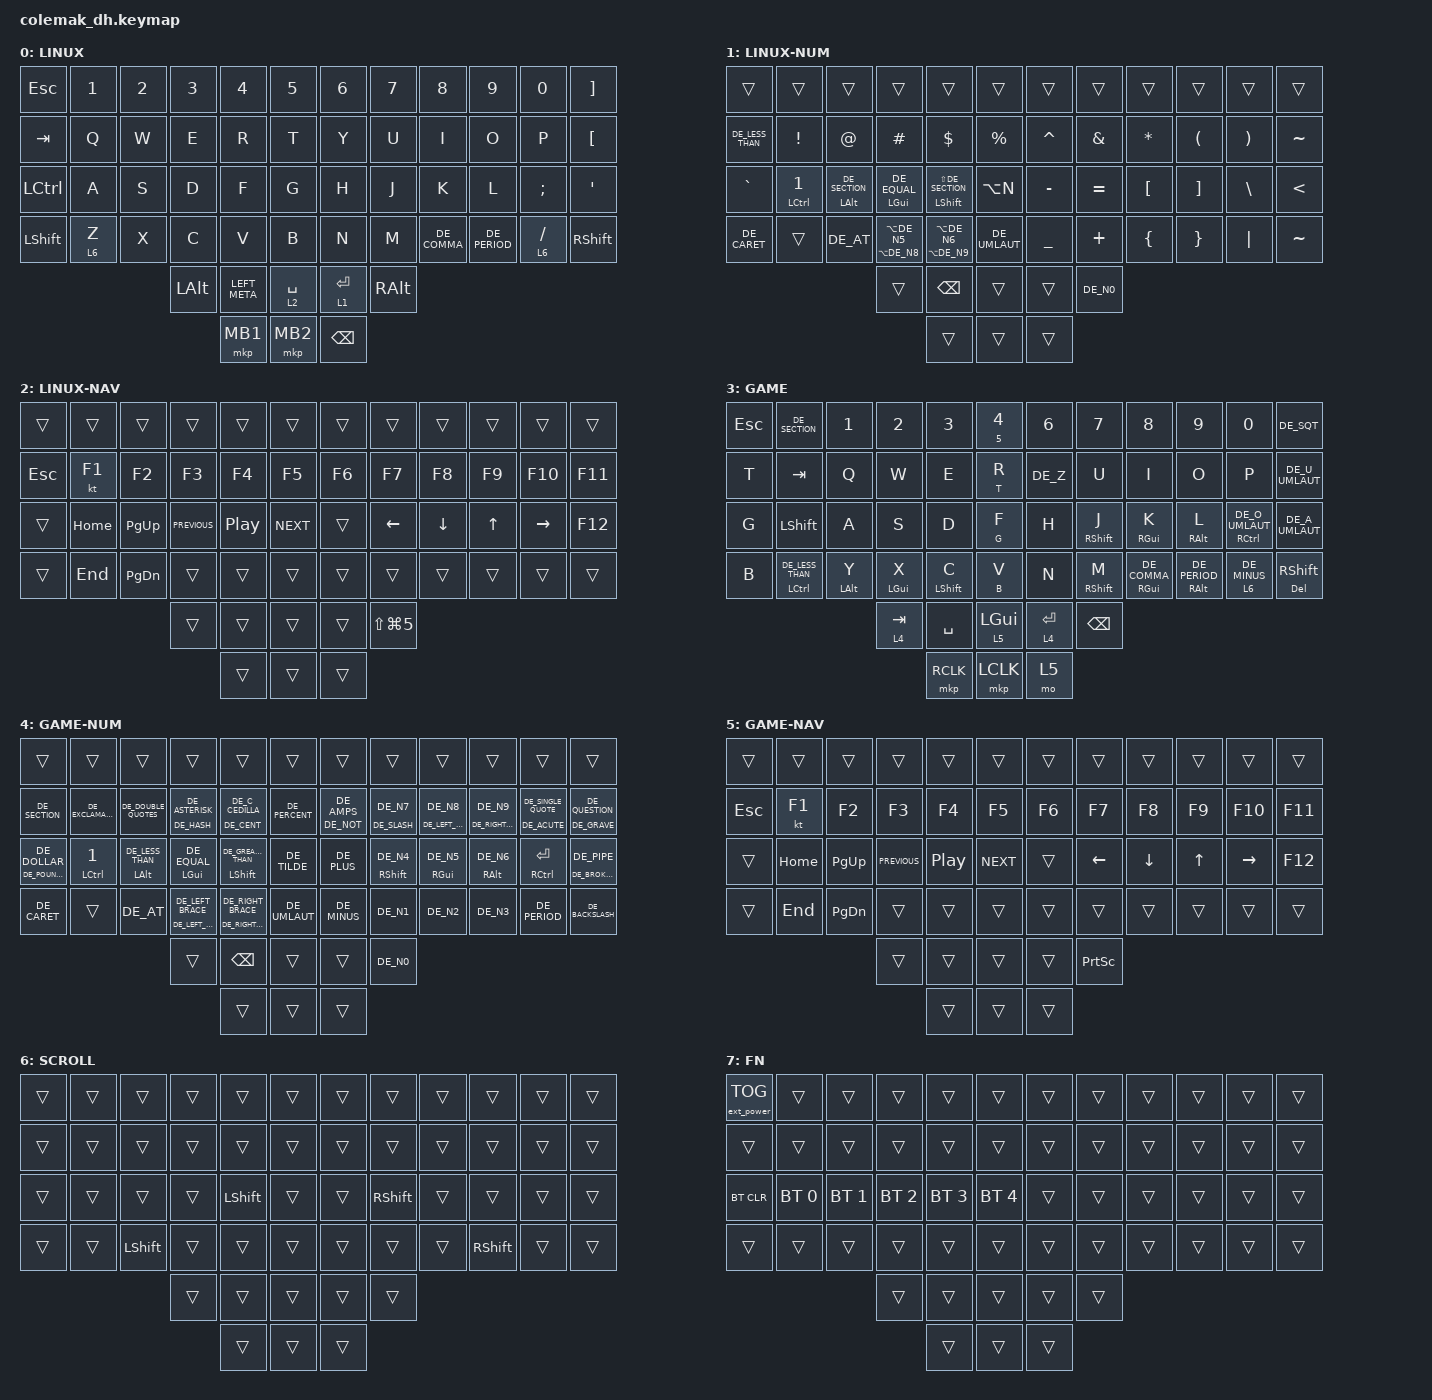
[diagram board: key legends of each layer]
#include "keys_de_swiss.h"
#include <dt-bindings/zmk/mouse.h>
#include <behaviors/mouse_keys.dtsi>
#include <behaviors.dtsi>
#include <dt-bindings/zmk/bt.h>
#include <dt-bindings/zmk/ext_power.h>
#include <dt-bindings/zmk/keys.h>
#include <dt-bindings/zmk/pointing.h>

// / {
//     chosen { zmk,matrix_transform = &default_transform; };
// };

/ {
    /* input config for mouse move mode */

    trackball_listener {
        compatible = "zmk,input-behavior-listener";
        device = <&trackball>;
        layers = <0 3 6>;
        evt-type = <INPUT_EV_REL>;
        x-input-code = <INPUT_REL_X>;
        y-input-code = <INPUT_REL_Y>;
        scale-multiplier = <1>;
        scale-divisor = <2>;

        // bindings = <&ib_toggle_layer 7>;
    };

    /* input config for snipe mode */

    trackball_snipe_listener {
        compatible = "zmk,input-behavior-listener";
        device = <&trackball>;
        layers = <10>;
        evt-type = <INPUT_EV_REL>;
        x-input-code = <INPUT_REL_X>;
        y-input-code = <INPUT_REL_Y>;
        scale-multiplier = <1>;
        scale-divisor = <4>;
    };

    /* input config for mouse scroll mode */

    trackball_scroll_listener {
        compatible = "zmk,input-behavior-listener";
        device = <&trackball>;
        layers = <9>;
        evt-type = <INPUT_EV_REL>;
        x-input-code = <INPUT_REL_MISC>;
        y-input-code = <INPUT_REL_WHEEL>;
        y-invert;
        bindings = <&ib_wheel_scaler 1 14>;
    };

    /* define a resolution down scaler only for INPUT_REL_WHEEL */

    ib_wheel_scaler: ib_wheel_scaler {
        compatible = "zmk,input-behavior-scaler";
        #binding-cells = <2>;
        evt-type = <INPUT_EV_REL>;
        input-code = <INPUT_REL_WHEEL>;
    };

    /* adjust cooldown waiting period for mouse key layer after activated */

    ib_toggle_layer: ib_toggle_layer {
        compatible = "zmk,input-behavior-tog-layer";
        #binding-cells = <1>;
        time-to-live-ms = <750>;
    };

    // #define QUERTZ    0
    // #define NUMBERS   1
    // #define NAV-FUN   2
    // #define MAC       3
    // #define MAC-NUM   4
    // #define MAC-NAV   5
    // #define GAME      6
    // #define GAME-NUM  7
    // #define GAME-NAV  8
    // #define SCROLL    9
    // #define SNIPER   10
    // #define FN       11

    combos {
        compatible = "zmk,combos";

        to-LINUX {
            bindings = <&to 0>;
            key-positions = <50 51>;
            layers = <3 7>;
        };

        to-GAME {
            bindings = <&to 3>;
            key-positions = <47 36>;
            layers = <0 7>;
        };

        to-FN {
            bindings = <&to 7>;
            key-positions = <41 42>;
            layers = <0 3>;
        };

        caps_word {
            bindings = <&caps_word>;
            key-positions = <31 28>;
        };

        rh_leftClick {
            bindings = <&mkp LCLK>;
            key-positions = <43 44>;
        };

        rh_rightClick {
            bindings = <&mkp RCLK>;
            key-positions = <44 45>;
        };

        rh_middleClick {
            bindings = <&mkp MCLK>;
            key-positions = <44 45 43>;
        };

        lh_leftClick {
            bindings = <&mkp LCLK>;
            key-positions = <40 39>;
        };

        lh_rightClick {
            bindings = <&mkp RCLK>;
            key-positions = <38 39>;
        };

        lh_middleClick {
            bindings = <&mkp MCLK>;
            key-positions = <38 39 40>;
        };

        CAPZ {
            bindings = <&kp CAPSLOCK>;
            key-positions = <24 25>;
        };
    };

    behaviors {
        hmr: hmr {
            compatible = "zmk,behavior-hold-tap";
            label = "HMR";
            bindings = <&kp>, <&kp>;

            #binding-cells = <2>;
            tapping-term-ms = <190>;
            quick-tap-ms = <175>;
            flavor = "balanced";
            hold-trigger-key-positions = <0 1 2 3 4 5 12 13 14 15 16 17 24 25 26 27 28 29 36 37 38 39 40 41 48 49 50 53 54 51 52 55>;
            hold-trigger-on-release;
        };

        hml: hml {
            compatible = "zmk,behavior-hold-tap";
            label = "HML";
            bindings = <&kp>, <&kp>;

            #binding-cells = <2>;
            tapping-term-ms = <190>;
            quick-tap-ms = <175>;
            flavor = "balanced";
            hold-trigger-key-positions = <48 49 50 53 54 51 52 55 6 7 8 9 10 11 18 19 20 21 22 23 30 31 32 33 34 35 42 43 44 45 46 47 51 52>;
            hold-trigger-on-release;
        };
    };

    keymap {
        compatible = "zmk,keymap";

        default_linux_layer {
            label = "LINUX";
            bindings = <
&kp ESCAPE        &kp N1   &kp N2  &kp N3        &kp N4         &kp N5         &kp N6         &kp N7         &kp N8        &kp N9         &kp N0       &kp RBKT
&kp TAB           &kp Q    &kp W   &kp E         &kp R          &kp T          &kp Y          &kp U          &kp I         &kp O          &kp P        &kp LBKT
&kp LEFT_CONTROL  &kp A    &kp S   &kp D         &kp F          &kp G          &kp H          &kp J          &kp K         &kp L          &kp SEMI     &kp APOSTROPHE
&kp LEFT_SHIFT    &lt 6 Z  &kp X   &kp C         &kp V          &kp B          &kp N          &kp M          &kp DE_COMMA  &kp DE_PERIOD  &lt 6 SLASH  &kp RSHIFT
                                   &kp LEFT_ALT  &kp LEFT_META  &lt 2 SPACE    &lt 1 ENTER    &kp RIGHT_ALT
                                                 &mkp MB1       &mkp MB2       &kp BACKSPACE
            >;
        };

        linux_raise_layer {
            label = "LINUX-NUM";
            bindings = <
&trans            &trans                &trans                    &trans                    &trans                          &trans           &trans     &trans         &trans        &trans             &trans                 &trans
&kp DE_LESS_THAN  &kp EXCLAMATION       &kp AT                    &kp HASH                  &kp DLLR                        &kp PERCENT      &kp CARET  &kp AMPERSAND  &kp ASTERISK  &kp LPAR           &kp RIGHT_PARENTHESIS  &kp TILDE
&kp GRAVE         &hml LEFT_CONTROL N1  &hml LEFT_ALT DE_SECTION  &hml LEFT_GUI DE_EQUAL    &hml LEFT_SHIFT LS(DE_SECTION)  &kp LA(N)        &kp MINUS  &kp EQUAL      &kp LBKT      &kp RIGHT_BRACKET  &kp BACKSLASH          &kp LESS_THAN
&kp DE_CARET      &trans                &kp DE_AT                 &hml LA(DE_N8) LA(DE_N5)  &hml LA(DE_N9) LA(DE_N6)        &kp DE_UMLAUT    &kp UNDER  &kp PLUS       &kp LBRC      &kp RBRC           &kp PIPE               &kp TILDE
                                                                  &trans                    &kp BACKSPACE                   &trans           &trans     &kp DE_N0
                                                                                            &trans                          &trans           &trans
            >;
        };

        linux_lower_layer {
            label = "LINUX-NAV";
            bindings = <
&trans      &trans    &trans         &trans          &trans            &trans        &trans  &trans                &trans          &trans        &trans           &trans
&kp ESCAPE  &kt F1    &kp F2         &kp F3          &kp F4            &kp F5        &kp F6  &kp F7                &kp F8          &kp F9        &kp F10          &kp F11
&trans      &kp HOME  &kp PAGE_UP    &kp C_PREVIOUS  &kp C_PLAY_PAUSE  &kp C_NEXT    &trans  &kp LEFT_ARROW        &kp DOWN_ARROW  &kp UP_ARROW  &kp RIGHT_ARROW  &kp F12
&trans      &kp END   &kp PAGE_DOWN  &trans          &trans            &trans        &trans  &trans                &trans          &trans        &trans           &trans
                                     &trans          &trans            &trans        &trans  &kp LS(LG(NUMBER_5))
                                                     &trans            &trans        &trans
            >;
        };

        default_game_layer {
            label = "GAME";
            bindings = <
&kp ESCAPE  &kp DE_SECTION                  &kp N1           &kp N2           &kp N3             &hml N5 N4        &kp N6       &kp N7              &kp N8                   &kp N9                    &kp N0                          &kp DE_SQT
&kp T       &kp TAB                         &kp Q            &kp W            &kp E              &hml T R          &kp DE_Z     &kp U               &kp I                    &kp O                     &kp P                           &kp DE_U_UMLAUT
&kp G       &kp LEFT_SHIFT                  &kp A            &kp S            &kp D              &hml G F          &kp H        &hmr RIGHT_SHIFT J  &hmr RIGHT_GUI K         &hmr RIGHT_ALT L          &hmr RIGHT_CONTROL DE_O_UMLAUT  &kp DE_A_UMLAUT
&kp B       &hml LEFT_CONTROL DE_LESS_THAN  &hml LEFT_ALT Y  &hml LEFT_GUI X  &hml LEFT_SHIFT C  &hml B V          &kp N        &hmr RIGHT_SHIFT M  &hmr RIGHT_GUI DE_COMMA  &hmr RIGHT_ALT DE_PERIOD  &lt 6 DE_MINUS                  &hmr DELETE RIGHT_SHIFT
                                                             &lt 4 TAB        &kp SPACE          &lt 5 LEFT_GUI    &lt 4 ENTER  &kp BACKSPACE
                                                                              &mkp RCLK          &mkp LCLK         &mo 5
            >;
        };

        game_raise_layer {
            label = "GAME-NUM";
            bindings = <
&trans                        &trans                &trans                      &trans                              &trans                                &trans            &trans               &trans                  &trans                          &trans                           &trans                         &trans
&kp DE_SECTION                &kp DE_EXCLAMATION    &kp DE_DOUBLE_QUOTES        &hml DE_HASH DE_ASTERISK            &hml DE_CENT DE_C_CEDILLA             &kp DE_PERCENT    &hmr DE_NOT DE_AMPS  &hmr DE_SLASH DE_N7     &hmr DE_LEFT_PARENTHESIS DE_N8  &hmr DE_RIGHT_PARENTHESIS DE_N9  &hmr DE_ACUTE DE_SINGLE_QUOTE  &hmr DE_GRAVE DE_QUESTION
&hml DE_POUND_SIGN DE_DOLLAR  &hml LEFT_CONTROL N1  &hml LEFT_ALT DE_LESS_THAN  &hml LEFT_GUI DE_EQUAL              &hml LEFT_SHIFT DE_GREATER_THAN       &kp DE_TILDE      &kp DE_PLUS          &hmr RIGHT_SHIFT DE_N4  &hmr RIGHT_GUI DE_N5            &hmr RIGHT_ALT DE_N6             &hmr RIGHT_CONTROL ENTER       &hmr DE_BROKEN_BAR DE_PIPE
&kp DE_CARET                  &trans                &kp DE_AT                   &hml DE_LEFT_BRACKET DE_LEFT_BRACE  &hml DE_RIGHT_BRACKET DE_RIGHT_BRACE  &kp DE_UMLAUT     &kp DE_MINUS         &kp DE_N1               &kp DE_N2                       &kp DE_N3                        &kp DE_PERIOD                  &kp DE_BACKSLASH
                                                                                &trans                              &kp BACKSPACE                         &trans            &trans               &kp DE_N0
                                                                                                                    &trans                                &trans            &trans
            >;
        };

        game_lower_layer {
            label = "GAME-NAV";
            bindings = <
&trans      &trans    &trans         &trans          &trans            &trans        &trans  &trans           &trans          &trans        &trans           &trans
&kp ESCAPE  &kt F1    &kp F2         &kp F3          &kp F4            &kp F5        &kp F6  &kp F7           &kp F8          &kp F9        &kp F10          &kp F11
&trans      &kp HOME  &kp PAGE_UP    &kp C_PREVIOUS  &kp C_PLAY_PAUSE  &kp C_NEXT    &trans  &kp LEFT_ARROW   &kp DOWN_ARROW  &kp UP_ARROW  &kp RIGHT_ARROW  &kp F12
&trans      &kp END   &kp PAGE_DOWN  &trans          &trans            &trans        &trans  &trans           &trans          &trans        &trans           &trans
                                     &trans          &trans            &trans        &trans  &kp PRINTSCREEN
                                                     &trans            &trans        &trans
            >;
        };

        scroll_layer {
            bindings = <
&trans  &trans  &trans          &trans  &trans          &trans    &trans  &trans           &trans  &trans           &trans  &trans
&trans  &trans  &trans          &trans  &trans          &trans    &trans  &trans           &trans  &trans           &trans  &trans
&trans  &trans  &trans          &trans  &kp LEFT_SHIFT  &trans    &trans  &kp RIGHT_SHIFT  &trans  &trans           &trans  &trans
&trans  &trans  &kp LEFT_SHIFT  &trans  &trans          &trans    &trans  &trans           &trans  &kp RIGHT_SHIFT  &trans  &trans
                                &trans  &trans          &trans    &trans  &trans
                                        &trans          &trans    &trans
            >;

            label = "SCROLL";
        };

        keeb_pref_layer {
            label = "FN";
            bindings = <
&ext_power EP_TOG  &trans        &trans        &trans        &trans        &trans          &trans  &trans  &trans  &trans  &trans  &trans
&trans             &trans        &trans        &trans        &trans        &trans          &trans  &trans  &trans  &trans  &trans  &trans
&bt BT_CLR         &bt BT_SEL 0  &bt BT_SEL 1  &bt BT_SEL 2  &bt BT_SEL 3  &bt BT_SEL 4    &trans  &trans  &trans  &trans  &trans  &trans
&trans             &trans        &trans        &trans        &trans        &trans          &trans  &trans  &trans  &trans  &trans  &trans
                                               &trans        &trans        &trans          &trans  &trans
                                                             &trans        &trans          &trans
            >;
        };
    };
};
